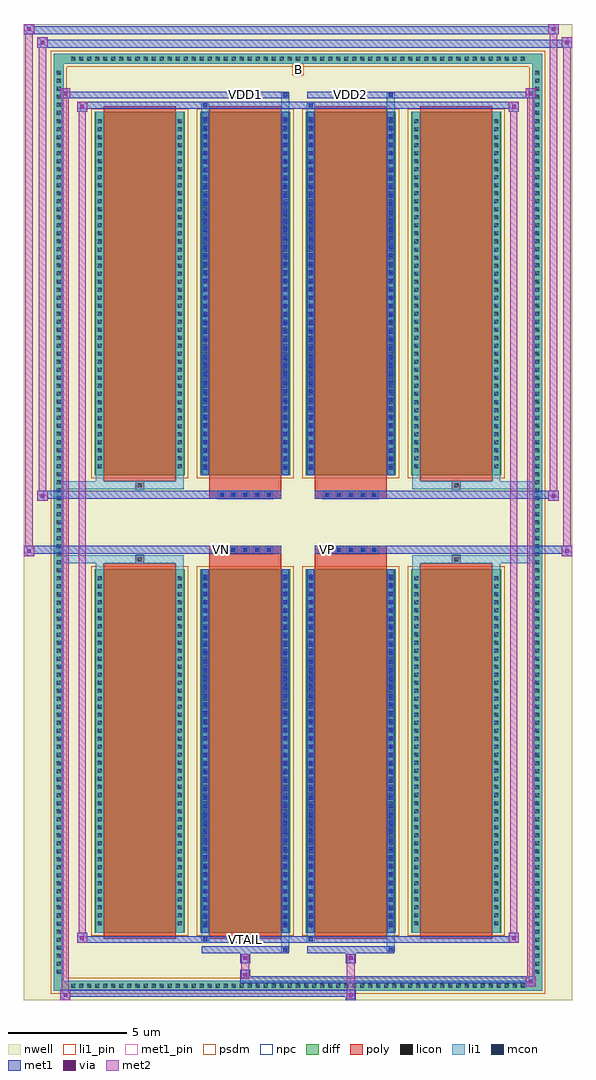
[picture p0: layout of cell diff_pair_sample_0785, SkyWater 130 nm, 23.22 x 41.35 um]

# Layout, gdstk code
import gdstk
lib = gdstk.Library(unit=1e-6, precision=5e-09)
def R(c, l, rs):  # rectangles x0, y0, x1, y1
    for r in rs: c.add(gdstk.rectangle(r[:2], r[2:], *l))
def A(c, l, x, y, w, h, nx, ny, dx, dy):  # array of equal rectangles
    R(c, l, [(x+i*dx, y+j*dy, x+i*dx+w, y+j*dy+h) for i in range(nx) for j in range(ny)])
def P(c, l, *ps):  # polygons
    for p in ps: c.add(gdstk.Polygon(p, *l))
nwell = (64, 20)
diff = (65, 20)
poly = (66, 20)
licon = (66, 44)
li1_pin = (67, 16)
li1 = (67, 20)
mcon = (67, 44)
met1_pin = (68, 16)
met1 = (68, 20)
via = (68, 44)
met2 = (69, 20)
psdm = (94, 20)
npc = (95, 20)

diff_pair_sample_0785 = lib.new_cell('diff_pair_sample_0785')
R(diff_pair_sample_0785, nwell, [(-11.61,-20.24,11.61,21.11), (-8.93,-18.43,-0.01,-0.805), (0.01,-18.43,8.93,-0.805), (-8.93,0.805,-0.01,18.43), (0.01,0.805,8.93,18.43)])
A(diff_pair_sample_0785, diff, -9.725, -19.84, 0.41, 0.41, 57, 2, 0.34, 39.27)
A(diff_pair_sample_0785, diff, -10.34, -19.245, 0.41, 0.41, 1, 113, 0, 0.34)
A(diff_pair_sample_0785, diff, 9.93, -19.245, 0.41, 0.41, 1, 113, 0, 0.34)
A(diff_pair_sample_0785, diff, -8.62, -17.385, 3.83, 15.4, 4, 2, 4.47, 19.37)
R(diff_pair_sample_0785, diff, [(-9.725,-19.84,9.725,-19.43), (-10.34,-19.245,-9.93,19.245), (9.93,-19.245,10.34,19.245), (-9.725,19.43,9.725,19.84)])
P(diff_pair_sample_0785, diff, [(10.34,19.84),(-10.34,19.84),(-10.34,-19.43),(-9.93,-19.43),(-9.93,19.43),(9.93,19.43),(9.93,-19.43),(-9.93,-19.43),(-10.34,-19.43),(-10.34,-19.84),(10.34,-19.84)])
A(diff_pair_sample_0785, poly, -8.23, -17.635, 3.05, 15.9, 4, 2, 4.47, 19.37)
A(diff_pair_sample_0785, poly, -3.4, -1.335, 0.33, 0.33, 5, 2, 0.5, 2.34)
A(diff_pair_sample_0785, poly, 1.07, -1.335, 0.33, 0.33, 5, 2, 0.5, 2.34)
R(diff_pair_sample_0785, poly, [(-6.87,-1.735,-6.54,-1.405), (-6.87,-1.735,-6.54,-1.405), (-3.76,-1.735,-0.71,-1.335), (0.71,-1.735,3.76,-1.335), (6.54,-1.735,6.87,-1.405), (6.54,-1.735,6.87,-1.405), (-3.76,-1.335,-0.71,-1.005), (0.71,-1.335,3.76,-1.005), (-3.76,1.005,-0.71,1.335), (0.71,1.005,3.76,1.335), (-3.76,1.335,-0.71,1.735), (0.71,1.335,3.76,1.735), (-6.87,1.405,-6.54,1.735), (-6.87,1.405,-6.54,1.735), (6.54,1.405,6.87,1.735), (6.54,1.405,6.87,1.735)])
A(diff_pair_sample_0785, licon, -9.605, -19.72, 0.17, 0.17, 57, 2, 0.34, 39.27)
A(diff_pair_sample_0785, licon, -10.22, -19.125, 0.17, 0.17, 1, 113, 0, 0.34)
A(diff_pair_sample_0785, licon, 10.05, -19.125, 0.17, 0.17, 1, 113, 0, 0.34)
A(diff_pair_sample_0785, licon, -8.48, -17.08, 0.17, 0.17, 1, 44, 0, 0.34)
A(diff_pair_sample_0785, licon, -5.1, -17.08, 0.17, 0.17, 1, 44, 0, 0.34)
A(diff_pair_sample_0785, licon, -4.01, -17.08, 0.17, 0.17, 1, 44, 0, 0.34)
A(diff_pair_sample_0785, licon, -0.63, -17.08, 0.17, 0.17, 1, 44, 0, 0.34)
A(diff_pair_sample_0785, licon, 0.46, -17.08, 0.17, 0.17, 1, 44, 0, 0.34)
A(diff_pair_sample_0785, licon, 3.84, -17.08, 0.17, 0.17, 1, 44, 0, 0.34)
A(diff_pair_sample_0785, licon, 4.93, -17.08, 0.17, 0.17, 1, 44, 0, 0.34)
A(diff_pair_sample_0785, licon, 8.31, -17.08, 0.17, 0.17, 1, 44, 0, 0.34)
A(diff_pair_sample_0785, licon, -3.32, -1.255, 0.17, 0.17, 5, 2, 0.5, 2.34)
A(diff_pair_sample_0785, licon, 1.15, -1.255, 0.17, 0.17, 5, 2, 0.5, 2.34)
A(diff_pair_sample_0785, licon, -8.48, 2.29, 0.17, 0.17, 1, 44, 0, 0.34)
A(diff_pair_sample_0785, licon, -5.1, 2.29, 0.17, 0.17, 1, 44, 0, 0.34)
A(diff_pair_sample_0785, licon, -4.01, 2.29, 0.17, 0.17, 1, 44, 0, 0.34)
A(diff_pair_sample_0785, licon, -0.63, 2.29, 0.17, 0.17, 1, 44, 0, 0.34)
A(diff_pair_sample_0785, licon, 0.46, 2.29, 0.17, 0.17, 1, 44, 0, 0.34)
A(diff_pair_sample_0785, licon, 3.84, 2.29, 0.17, 0.17, 1, 44, 0, 0.34)
A(diff_pair_sample_0785, licon, 4.93, 2.29, 0.17, 0.17, 1, 44, 0, 0.34)
A(diff_pair_sample_0785, licon, 8.31, 2.29, 0.17, 0.17, 1, 44, 0, 0.34)
R(diff_pair_sample_0785, licon, [(-6.79,-1.655,-6.62,-1.485), (6.62,-1.655,6.79,-1.485), (-6.79,1.485,-6.62,1.655), (6.62,1.485,6.79,1.655)])
R(diff_pair_sample_0785, li1_pin, [(-0.25,18.93,0.25,19.43)])
A(diff_pair_sample_0785, li1, -9.685, -19.8, 0.33, 0.33, 57, 2, 0.34, 39.27)
A(diff_pair_sample_0785, li1, -10.3, -19.205, 0.33, 0.33, 1, 113, 0, 0.34)
A(diff_pair_sample_0785, li1, 9.97, -19.205, 0.33, 0.33, 1, 113, 0, 0.34)
A(diff_pair_sample_0785, li1, -8.56, -17.16, 0.33, 0.33, 1, 44, 0, 0.34)
A(diff_pair_sample_0785, li1, -5.18, -17.16, 0.33, 0.33, 1, 44, 0, 0.34)
A(diff_pair_sample_0785, li1, -4.09, -17.16, 0.33, 0.33, 1, 44, 0, 0.34)
A(diff_pair_sample_0785, li1, -0.71, -17.16, 0.33, 0.33, 1, 44, 0, 0.34)
A(diff_pair_sample_0785, li1, 0.38, -17.16, 0.33, 0.33, 1, 44, 0, 0.34)
A(diff_pair_sample_0785, li1, 3.76, -17.16, 0.33, 0.33, 1, 44, 0, 0.34)
A(diff_pair_sample_0785, li1, 4.85, -17.16, 0.33, 0.33, 1, 44, 0, 0.34)
A(diff_pair_sample_0785, li1, 8.23, -17.16, 0.33, 0.33, 1, 44, 0, 0.34)
A(diff_pair_sample_0785, li1, -4.01, -17.15, 0.17, 0.17, 1, 42, 0, 0.36)
A(diff_pair_sample_0785, li1, -0.63, -17.15, 0.17, 0.17, 1, 42, 0, 0.36)
A(diff_pair_sample_0785, li1, 0.46, -17.15, 0.17, 0.17, 1, 42, 0, 0.36)
A(diff_pair_sample_0785, li1, 3.84, -17.15, 0.17, 0.17, 1, 42, 0, 0.36)
A(diff_pair_sample_0785, li1, -3.4, -1.335, 0.33, 0.33, 5, 2, 0.5, 2.34)
A(diff_pair_sample_0785, li1, 1.07, -1.335, 0.33, 0.33, 5, 2, 0.5, 2.34)
A(diff_pair_sample_0785, li1, -8.56, 2.21, 0.33, 0.33, 1, 44, 0, 0.34)
A(diff_pair_sample_0785, li1, -5.18, 2.21, 0.33, 0.33, 1, 44, 0, 0.34)
A(diff_pair_sample_0785, li1, -4.09, 2.21, 0.33, 0.33, 1, 44, 0, 0.34)
A(diff_pair_sample_0785, li1, -0.71, 2.21, 0.33, 0.33, 1, 44, 0, 0.34)
A(diff_pair_sample_0785, li1, 0.38, 2.21, 0.33, 0.33, 1, 44, 0, 0.34)
A(diff_pair_sample_0785, li1, 3.76, 2.21, 0.33, 0.33, 1, 44, 0, 0.34)
A(diff_pair_sample_0785, li1, 4.85, 2.21, 0.33, 0.33, 1, 44, 0, 0.34)
A(diff_pair_sample_0785, li1, 8.23, 2.21, 0.33, 0.33, 1, 44, 0, 0.34)
A(diff_pair_sample_0785, li1, -4.01, 2.22, 0.17, 0.17, 1, 42, 0, 0.36)
A(diff_pair_sample_0785, li1, -0.63, 2.22, 0.17, 0.17, 1, 42, 0, 0.36)
A(diff_pair_sample_0785, li1, 0.46, 2.22, 0.17, 0.17, 1, 42, 0, 0.36)
A(diff_pair_sample_0785, li1, 3.84, 2.22, 0.17, 0.17, 1, 42, 0, 0.36)
R(diff_pair_sample_0785, li1, [(-10.34,-19.84,-9.93,-19.43), (-10.34,-19.84,-9.93,-19.43), (-9.93,-19.84,9.93,-19.43), (9.93,-19.84,10.34,-19.43), (9.93,-19.84,10.34,-19.43), (-10.34,-19.43,-9.93,19.43), (9.93,-19.43,10.34,19.43), (-0.71,-18.19,-0.38,-17.385), (-0.63,-18.19,-0.46,-18.02), (3.76,-18.19,4.09,-17.385), (3.84,-18.19,4.01,-18.02), (-4.09,-17.76,-3.76,-17.385), (-4.01,-17.76,-3.84,-17.59), (0.38,-17.76,0.71,-17.385), (0.46,-17.76,0.63,-17.59), (-8.56,-17.385,-8.23,-1.985), (-5.18,-17.385,-4.85,-1.985), (-4.09,-17.385,-3.76,-1.985), (-0.71,-17.385,-0.38,-1.985), (0.38,-17.385,0.71,-1.985), (3.76,-17.385,4.09,-1.985), (4.85,-17.385,5.18,-1.985), (8.23,-17.385,8.56,-1.985), (-4.01,-17.15,-3.84,-2.22), (-0.63,-17.15,-0.46,-2.22), (0.46,-17.15,0.63,-2.22), (3.84,-17.15,4.01,-2.22), (-8.56,-1.985,-8.23,-1.405), (-5.18,-1.985,-4.85,-1.405), (4.85,-1.985,5.18,-1.405), (8.23,-1.985,8.56,-1.405), (-10.34,-1.735,-6.87,-1.405), (-8.56,-1.735,-6.87,-1.405), (-6.87,-1.735,-6.54,-1.405), (-6.54,-1.735,-4.85,-1.405), (4.85,-1.735,6.54,-1.405), (6.54,-1.735,6.87,-1.405), (6.54,-1.735,10.34,-1.405), (6.87,-1.735,8.56,-1.405), (-10.34,1.405,-6.87,1.735), (-8.56,1.405,-6.87,1.735), (-8.56,1.405,-8.23,1.985), (-6.87,1.405,-6.54,1.735), (-6.54,1.405,-4.85,1.735), (-5.18,1.405,-4.85,1.985), (4.85,1.405,6.54,1.735), (4.85,1.405,5.18,1.985), (6.54,1.405,6.87,1.735), (6.54,1.405,10.34,1.735), (6.87,1.405,8.56,1.735), (8.23,1.405,8.56,1.985), (-8.56,1.985,-8.23,17.385), (-5.18,1.985,-4.85,17.385), (-4.09,1.985,-3.76,17.385), (-0.71,1.985,-0.38,17.385), (0.38,1.985,0.71,17.385), (3.76,1.985,4.09,17.385), (4.85,1.985,5.18,17.385), (8.23,1.985,8.56,17.385), (-4.01,2.22,-3.84,17.15), (-0.63,2.22,-0.46,17.15), (0.46,2.22,0.63,17.15), (3.84,2.22,4.01,17.15), (-4.09,17.385,-3.76,17.76), (-0.71,17.385,-0.38,18.19), (0.38,17.385,0.71,17.76), (3.76,17.385,4.09,18.19), (-4.01,17.59,-3.84,17.76), (0.46,17.59,0.63,17.76), (-0.63,18.02,-0.46,18.19), (3.84,18.02,4.01,18.19), (-10.34,19.43,-9.93,19.84), (-10.34,19.43,-9.93,19.84), (-9.93,19.43,9.93,19.84), (9.93,19.43,10.34,19.84), (9.93,19.43,10.34,19.84)])
A(diff_pair_sample_0785, mcon, -4.01, -17.15, 0.17, 0.17, 1, 42, 0, 0.36)
A(diff_pair_sample_0785, mcon, -0.63, -17.15, 0.17, 0.17, 1, 42, 0, 0.36)
A(diff_pair_sample_0785, mcon, 0.46, -17.15, 0.17, 0.17, 1, 42, 0, 0.36)
A(diff_pair_sample_0785, mcon, 3.84, -17.15, 0.17, 0.17, 1, 42, 0, 0.36)
A(diff_pair_sample_0785, mcon, -3.32, -1.255, 0.17, 0.17, 5, 2, 0.5, 2.34)
A(diff_pair_sample_0785, mcon, 1.15, -1.255, 0.17, 0.17, 5, 2, 0.5, 2.34)
A(diff_pair_sample_0785, mcon, -4.01, 2.22, 0.17, 0.17, 1, 42, 0, 0.36)
A(diff_pair_sample_0785, mcon, -0.63, 2.22, 0.17, 0.17, 1, 42, 0, 0.36)
A(diff_pair_sample_0785, mcon, 0.46, 2.22, 0.17, 0.17, 1, 42, 0, 0.36)
A(diff_pair_sample_0785, mcon, 3.84, 2.22, 0.17, 0.17, 1, 42, 0, 0.36)
R(diff_pair_sample_0785, mcon, [(-0.63,-18.19,-0.46,-18.02), (3.84,-18.19,4.01,-18.02), (-4.01,-17.76,-3.84,-17.59), (0.46,-17.76,0.63,-17.59), (-4.01,17.59,-3.84,17.76), (0.46,17.59,0.63,17.76), (-0.63,18.02,-0.46,18.19), (3.84,18.02,4.01,18.19)])
R(diff_pair_sample_0785, met1_pin, [(-2.37,-17.8,-2.1,-17.53), (-3.37,-1.295,-3.1,-1.025), (1.1,-1.295,1.37,-1.025), (-2.37,17.98,-2.1,18.25), (2.1,17.98,2.37,18.25)])
A(diff_pair_sample_0785, met1, -4.07, -17.21, 0.29, 0.29, 1, 42, 0, 0.36)
A(diff_pair_sample_0785, met1, -0.69, -17.21, 0.29, 0.29, 1, 42, 0, 0.36)
A(diff_pair_sample_0785, met1, 0.4, -17.21, 0.29, 0.29, 1, 42, 0, 0.36)
A(diff_pair_sample_0785, met1, 3.78, -17.21, 0.29, 0.29, 1, 42, 0, 0.36)
A(diff_pair_sample_0785, met1, -3.38, -1.315, 0.29, 0.29, 5, 2, 0.5, 2.34)
A(diff_pair_sample_0785, met1, 1.09, -1.315, 0.29, 0.29, 5, 2, 0.5, 2.34)
A(diff_pair_sample_0785, met1, -4.07, 2.16, 0.29, 0.29, 1, 42, 0, 0.36)
A(diff_pair_sample_0785, met1, -0.69, 2.16, 0.29, 0.29, 1, 42, 0, 0.36)
A(diff_pair_sample_0785, met1, 0.4, 2.16, 0.29, 0.29, 1, 42, 0, 0.36)
A(diff_pair_sample_0785, met1, 3.78, 2.16, 0.29, 0.29, 1, 42, 0, 0.36)
R(diff_pair_sample_0785, met1, [(-10.07,-20.24,-9.64,-19.81), (2.02,-20.24,2.45,-19.81), (-10.07,-20.1,2.45,-19.81), (9.64,-19.67,10.07,-19.24), (-2.45,-19.53,10.07,-19.24), (-2.45,-19.39,-2.02,-18.96), (-2.45,-18.68,-2.02,-18.25), (2.02,-18.68,2.45,-18.25), (-4.07,-18.25,-0.4,-17.96), (-0.69,-18.25,-0.4,-17.96), (0.4,-18.25,4.07,-17.96), (3.78,-18.25,4.07,-17.96), (-9.36,-17.82,-8.93,-17.39), (-9.36,-17.82,-4.07,-17.53), (-4.07,-17.82,-3.78,-17.53), (-4.07,-17.82,-0.4,-17.53), (-0.4,-17.82,0.4,-17.53), (0.4,-17.82,0.69,-17.53), (0.4,-17.82,4.07,-17.53), (4.07,-17.82,9.36,-17.53), (8.93,-17.82,9.36,-17.39), (-4.07,-17.385,-3.78,-1.985), (-0.69,-17.385,-0.4,-1.985), (0.4,-17.385,0.69,-1.985), (3.78,-17.385,4.07,-1.985), (-11.61,-1.435,-11.18,-1.005), (11.18,-1.435,11.61,-1.005), (-11.61,-1.335,-0.71,-1.005), (-3.76,-1.335,-0.71,-1.005), (0.71,-1.335,3.76,-1.005), (0.71,-1.335,11.61,-1.005), (-11.04,0.905,-10.61,1.335), (10.61,0.905,11.04,1.335), (-11.04,1.005,-3.76,1.335), (-3.76,1.005,-0.71,1.335), (0.71,1.005,3.76,1.335), (3.76,1.005,11.04,1.335), (-4.07,1.985,-3.78,17.385), (-0.69,1.985,-0.4,17.385), (0.4,1.985,0.69,17.385), (3.78,1.985,4.07,17.385), (-9.36,17.39,-8.93,17.82), (8.93,17.39,9.36,17.82), (-9.36,17.53,-4.07,17.82), (-4.07,17.53,-3.78,17.82), (-4.07,17.53,-0.4,17.82), (-0.4,17.53,0.4,17.82), (0.4,17.53,0.69,17.82), (0.4,17.53,4.07,17.82), (4.07,17.53,9.36,17.82), (-10.07,17.96,-9.64,18.39), (-10.07,17.96,-4.07,18.25), (-4.07,17.96,-0.4,18.25), (-0.69,17.96,-0.4,18.25), (0.4,17.96,4.07,18.25), (3.78,17.96,4.07,18.25), (4.07,17.96,10.07,18.25), (9.64,17.96,10.07,18.39), (-11.04,20.11,-10.61,20.54), (-11.04,20.11,-8.93,20.44), (-8.93,20.11,8.93,20.44), (8.93,20.11,11.61,20.44), (11.18,20.11,11.61,20.54), (-11.61,20.68,-11.18,21.11), (-11.61,20.68,-8.93,21.01), (-8.93,20.68,8.93,21.01), (8.93,20.68,11.04,21.01), (10.61,20.68,11.04,21.11)])
R(diff_pair_sample_0785, via, [(-9.93,-20.1,-9.78,-19.95), (2.16,-20.1,2.31,-19.95), (9.78,-19.53,9.93,-19.38), (-2.31,-19.25,-2.16,-19.1), (-2.31,-18.54,-2.16,-18.39), (2.16,-18.54,2.31,-18.39), (-9.22,-17.68,-9.07,-17.53), (9.07,-17.68,9.22,-17.53), (-11.47,-1.295,-11.32,-1.145), (11.32,-1.295,11.47,-1.145), (-10.9,1.045,-10.75,1.195), (10.75,1.045,10.9,1.195), (-9.22,17.53,-9.07,17.68), (9.07,17.53,9.22,17.68), (-9.93,18.1,-9.78,18.25), (9.78,18.1,9.93,18.25), (-10.9,20.25,-10.75,20.4), (11.32,20.25,11.47,20.4), (-11.47,20.82,-11.32,20.97), (10.75,20.82,10.9,20.97)])
R(diff_pair_sample_0785, met2, [(-10.07,-20.24,-9.64,-19.81), (-10,-20.24,-9.71,18.39), (-9.71,-20.24,-9.64,-19.81), (-10.02,-20.19,-9.69,-19.86), (2.07,-20.19,2.4,-19.86), (2.07,-19.86,2.4,-18.63), (9.64,-19.67,10.07,-19.24), (9.71,-19.67,10,18.39), (10,-19.67,10.07,-19.24), (9.69,-19.62,10.02,-19.29), (-2.4,-19.34,-2.07,-19.01), (-2.4,-19.01,-2.07,-18.63), (-2.4,-18.63,-2.07,-18.3), (2.07,-18.63,2.4,-18.3), (-9.36,-17.82,-8.93,-17.39), (-9.29,-17.82,-9,17.82), (-9,-17.82,-8.93,-17.39), (8.93,-17.82,9.36,-17.39), (9,-17.82,9.29,17.82), (9.29,-17.82,9.36,-17.39), (-9.31,-17.77,-8.98,-17.44), (8.98,-17.77,9.31,-17.44), (-11.61,-1.435,-11.18,-1.005), (-11.56,-1.435,-11.23,21.11), (-11.23,-1.435,-11.18,-1.005), (11.18,-1.435,11.61,-1.005), (11.23,-1.435,11.56,20.54), (11.56,-1.435,11.61,-1.005), (-11.56,-1.385,-11.23,-1.055), (11.23,-1.385,11.56,-1.055), (-11.04,0.905,-10.61,1.335), (-10.99,0.905,-10.66,20.54), (-10.66,0.905,-10.61,1.335), (10.61,0.905,11.04,1.335), (10.66,0.905,10.99,21.11), (10.99,0.905,11.04,1.335), (-10.99,0.955,-10.66,1.285), (10.66,0.955,10.99,1.285), (-9.36,17.39,-8.93,17.82), (-9,17.39,-8.93,17.82), (8.93,17.39,9.36,17.82), (9.29,17.39,9.36,17.82), (-9.31,17.44,-8.98,17.77), (8.98,17.44,9.31,17.77), (-10.07,17.96,-9.64,18.39), (-9.71,17.96,-9.64,18.39), (9.64,17.96,10.07,18.39), (10,17.96,10.07,18.39), (-10.02,18.01,-9.69,18.34), (9.69,18.01,10.02,18.34), (-11.04,20.11,-10.61,20.54), (-10.66,20.11,-10.61,20.54), (11.18,20.11,11.61,20.54), (11.56,20.11,11.61,20.54), (-10.99,20.16,-10.66,20.49), (11.23,20.16,11.56,20.49), (-11.61,20.68,-11.18,21.11), (-11.23,20.68,-11.18,21.11), (10.61,20.68,11.04,21.11), (10.99,20.68,11.04,21.11), (-11.56,20.73,-11.23,21.06), (10.66,20.73,10.99,21.06)])
A(diff_pair_sample_0785, psdm, -8.75, -17.515, 4.09, 15.66, 4, 2, 4.47, 19.37)
P(diff_pair_sample_0785, psdm, [(10.47,19.97),(-10.47,19.97),(-10.47,-19.3),(-9.8,-19.3),(-9.8,19.3),(9.8,19.3),(9.8,-19.3),(-9.8,-19.3),(-10.47,-19.3),(-10.47,-19.97),(10.47,-19.97)])
A(diff_pair_sample_0785, npc, -3.42, -1.355, 0.37, 0.37, 5, 2, 0.5, 2.34)
A(diff_pair_sample_0785, npc, 1.05, -1.355, 0.37, 0.37, 5, 2, 0.5, 2.34)
R(diff_pair_sample_0785, npc, [(-6.89,-1.755,-6.52,-1.385), (6.52,-1.755,6.89,-1.385), (-3.42,-1.355,-2.55,-0.985), (-3.42,-1.355,-2.55,-0.985), (-2.92,-1.355,-2.05,-0.985), (-2.92,-1.355,-2.05,-0.985), (-2.42,-1.355,-1.55,-0.985), (-2.42,-1.355,-1.55,-0.985), (-1.92,-1.355,-1.05,-0.985), (-1.92,-1.355,-1.05,-0.985), (1.05,-1.355,1.92,-0.985), (1.05,-1.355,1.92,-0.985), (1.55,-1.355,2.42,-0.985), (1.55,-1.355,2.42,-0.985), (2.05,-1.355,2.92,-0.985), (2.05,-1.355,2.92,-0.985), (2.55,-1.355,3.42,-0.985), (2.55,-1.355,3.42,-0.985), (-3.42,0.985,-2.55,1.355), (-3.42,0.985,-2.55,1.355), (-2.92,0.985,-2.05,1.355), (-2.92,0.985,-2.05,1.355), (-2.42,0.985,-1.55,1.355), (-2.42,0.985,-1.55,1.355), (-1.92,0.985,-1.05,1.355), (-1.92,0.985,-1.05,1.355), (1.05,0.985,1.92,1.355), (1.05,0.985,1.92,1.355), (1.55,0.985,2.42,1.355), (1.55,0.985,2.42,1.355), (2.05,0.985,2.92,1.355), (2.05,0.985,2.92,1.355), (2.55,0.985,3.42,1.355), (2.55,0.985,3.42,1.355), (-6.89,1.385,-6.52,1.755), (6.52,1.385,6.89,1.755)])
diff_pair_sample_0785.add(gdstk.Label('VTAIL', (-2.235,-17.665), layer=68, texttype=5))
diff_pair_sample_0785.add(gdstk.Label('VN', (-3.235,-1.16), layer=68, texttype=5))
diff_pair_sample_0785.add(gdstk.Label('VP', (1.235,-1.16), layer=68, texttype=5))
diff_pair_sample_0785.add(gdstk.Label('B', (0,19.18), layer=67, texttype=5))
diff_pair_sample_0785.add(gdstk.Label('VDD2', (2.235,18.115), layer=68, texttype=5))
diff_pair_sample_0785.add(gdstk.Label('VDD1', (-2.235,18.115), layer=68, texttype=5))

lib.write_gds('diff_pair_sample_0785.gds')
